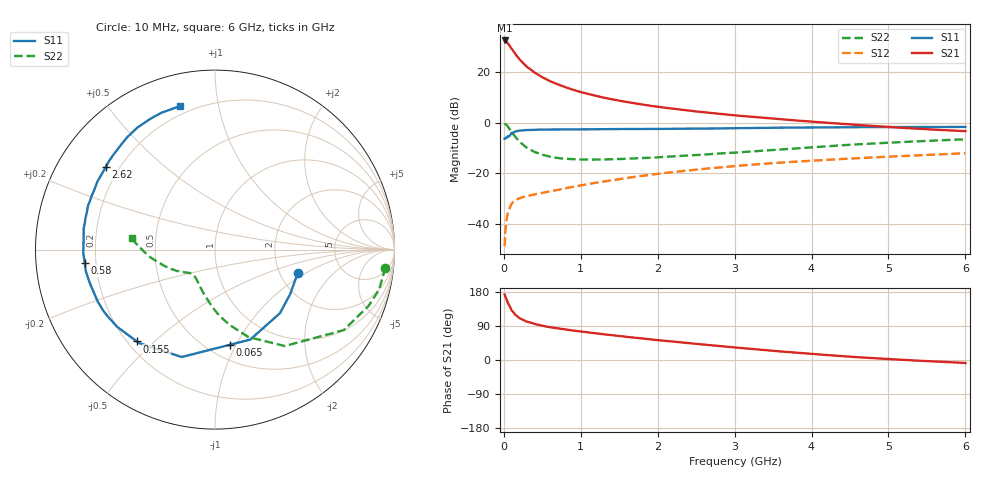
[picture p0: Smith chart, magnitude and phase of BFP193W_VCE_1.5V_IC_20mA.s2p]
! Infineon Technologies  Discrete & RF Semiconductors
! BFP193W
! VCE = 1.5 V,  IC =  20 mA
! Common Emitter S-Parameters:  Jan 2016
# GHz  S  MA  R  50
!  f  S11  S21  S12  S22
! GHz  MAG  ANG  MAG  ANG  MAG  ANG  MAG  ANG
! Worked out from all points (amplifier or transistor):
!   210 points, 10 MHz to 6 GHz, reference 50 ohm
!   highest |S21| = 32.5 dB at 10 MHz (marker M1)
!   |S21| within 3 dB of that: start of sweep to 95.48 MHz
!   unconditionally stable (mu >= 1): 874.2 MHz to 4.365 GHz
!   at 185 MHz: K = 0.34, MSG = 28.0 dB, |S12| = -30.1 dB
!   at 1.52 GHz: K = 1.13, MAG = 13.2 dB, |S12| = -22.2 dB
!   at 6 GHz: K = 0.95, MSG = 4.4 dB, |S12| = -12.1 dB
!   S11 on the Smith chart (normalised r, x): 10 MHz: 2.52, -0.84; 65 MHz: 0.63, -0.94; 155 MHz: 0.24, -0.44; 580 MHz: 0.16, -0.05; 2.62 GHz: 0.15, +0.33; 6 GHz: 0.16, +0.78
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0.01  0.4794 -15.5  42.23 173.0  0.0036 83.6  0.9545 -6.0
0.02  0.4869 -30.7  41.82 167.6  0.0073 77.8  0.9412 -13.7
0.03  0.5064 -44.4  40.79 161.7  0.0105 75.2  0.9115 -20.1
0.05  0.5384 -68.6  37.76 150.9  0.016 64.5  0.8462 -32.0
0.065  0.5367 -81.2  34.84 146.0  0.0185 58.7  0.7803 -37.5
0.1  0.6264 -107.2  29.31 131.2  0.0249 50.1  0.6631 -54.1
0.15  0.671 -129.1  22.71 118.7  0.0294 42.0  0.5215 -69.1
0.155  0.6718 -130.4  22.23 118.1  0.0296 41.6  0.5114 -69.9
0.2  0.6942 -141.6  18.13 110.8  0.0318 38.7  0.4261 -79.2
0.26  0.7095 -151.3  14.58 104.6  0.0341 37.3  0.3546 -88.0
0.3  0.7145 -156.2  12.72 101.2  0.0353 36.8  0.317 -93.1
0.4  0.722 -164.9  9.753 94.9  0.038 37.8  0.2627 -102.5
0.58  0.7294 -174.1  6.863 87.4  0.0432 41.7  0.2158 -114.1
0.8  0.7328 178.4  5 80.3  0.0504 46.4  0.1927 -123.0
1.02  0.7372 172.8  3.948 74.6  0.0581 49.2  0.1863 -129.1
1.4  0.7426 164.6  2.905 65.6  0.0726 52.5  0.1888 -135.3
2.02  0.7514 152.8  2.04 52.1  0.098 53.4  0.2076 -142.0
2.62  0.763 143.0  1.592 40.3  0.1224 51.7  0.2342 -149.1
3.1  0.7769 135.4  1.354 31.5  0.1422 49.2  0.2617 -155.1
4.1  0.8063 121.4  1.02 14.5  0.1806 43.0  0.3323 -168.7
5.1  0.8184 110.7  0.802 1.3  0.2157 36.7  0.4084 179.8
6  0.8233 103.6  0.678 -7.8  0.2482 31.3  0.4679 172.3
